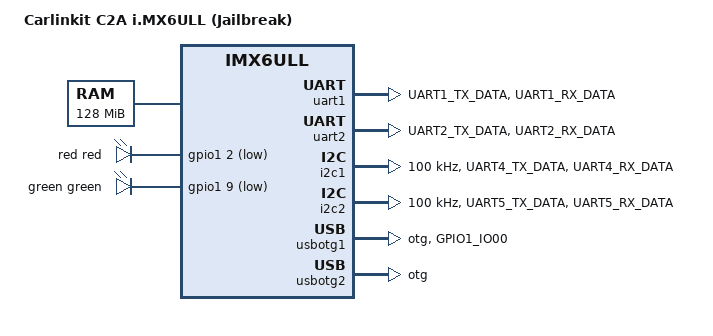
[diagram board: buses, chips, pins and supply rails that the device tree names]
/dts-v1/;

#include "imx6ull.dtsi"
#include "imx6ul-c2a-flash.dtsi"

#include <dt-bindings/leds/common.h>

/ {
	model = "Carlinkit C2A i.MX6ULL (Jailbreak)";
	compatible = "fsl,imx6ull";

	chosen {
		stdout-path = &uart1;
		bootargs = C2A_BOOTARGS;
	};

	memory@80000000 {
		device_type = "memory";
		reg = <0x80000000 0x08000000>; /* 128 MB */
	};

	leds {
		compatible = "gpio-leds";

		red {
			label = "red";
			gpios = <&gpio1 2 GPIO_ACTIVE_LOW>;
			default-state = "on";
			color = <LED_COLOR_ID_RED>;
			linux,default-trigger = "heartbeat";
		};

		green {
			label = "green";
			gpios = <&gpio1 9 GPIO_ACTIVE_LOW>;
			color = <LED_COLOR_ID_GREEN>;
			default-state = "off";
		};
	};	

	rgb {
		compatible = "carlinkit,ws2812b";
		pinctrl-names = "default";
		pinctrl-0 = <&pinctrl_rgb>;
	};

};

&clks {
	assigned-clocks = <&clks IMX6UL_CLK_PLL4_AUDIO_DIV>;
	assigned-clock-rates = <786432000>;
};

&snvs_poweroff {
	status = "okay";
};

&uart1 { /* serial */
	pinctrl-names = "default";
	pinctrl-0 = <&pinctrl_uart1>;
	status = "okay";
};

&uart2 { /* serial */
	pinctrl-names = "default";
	pinctrl-0 = <&pinctrl_uart2>;
	status = "okay";
};

&i2c1 { /* MFI */
	status = "okay";
	pinctrl-names = "default";
	pinctrl-0 = <&pinctrl_i2c1>;
	clock-frequency = <100000>;
};

&i2c2 { /* unused */
	status = "okay";
	pinctrl-names = "default";
	pinctrl-0 = <&pinctrl_i2c2>;
	clock-frequency = <100000>;
};

&usbotg1 { /* USB-A */
	dr_mode = "otg";
	pinctrl-names = "default";
	pinctrl-0 = <&pinctrl_usb_otg1>;
	usb-role-switch;
	role-switch-default-mode = "host";

	srp-disable;
	hnp-disable;
	adp-disable;

	disable-over-current;

	status = "okay";
};

&usbotg2 { /* USB-C */
	dr_mode = "otg";
	usb-role-switch;
	/* role-switch-default-mode = "host"; */

	srp-disable;
	hnp-disable;
	adp-disable;

	disable-over-current;

	status = "okay";
};

&usbphy1 {
	fsl,tx-d-cal = <106>; /* signal strength */
};

&usbphy2 {
	fsl,tx-d-cal = <106>; /* signal strength */
};

&iomuxc {
	pinctrl_rgb: led_data_grp {
		fsl,pins = <
			MX6UL_PAD_GPIO1_IO03__GPIO1_IO03 0x00000010
		>;
	};

	pinctrl_uart1: uart1grp {
		fsl,pins = <
			MX6UL_PAD_UART1_TX_DATA__UART1_DCE_TX 0x1b0b1
			MX6UL_PAD_UART1_RX_DATA__UART1_DCE_RX 0x1b0b1
		>;
	};

	pinctrl_uart2: uart2grp {
		fsl,pins = <
			MX6UL_PAD_UART2_TX_DATA__UART2_DCE_TX  0x1b0b1
			MX6UL_PAD_UART2_RX_DATA__UART2_DCE_RX  0x1b0b1
		>;
	};

	pinctrl_uart3: uart3grp {
		fsl,pins = <
			MX6UL_PAD_UART3_TX_DATA__UART3_DCE_TX  0x1b0b1
			MX6UL_PAD_UART3_RX_DATA__UART3_DCE_RX  0x1b0b1
			MX6UL_PAD_UART3_CTS_B__UART3_DCE_CTS   0x1b0b1
			MX6UL_PAD_UART3_RTS_B__UART3_DCE_RTS   0x1b0b1
		>;
	};

	pinctrl_qspi: qspigrp {
		fsl,pins = <
			MX6UL_PAD_NAND_WP_B__QSPI_A_SCLK        0x70a1
			MX6UL_PAD_NAND_READY_B__QSPI_A_DATA00   0x70a1
			MX6UL_PAD_NAND_CE0_B__QSPI_A_DATA01     0x70a1
			MX6UL_PAD_NAND_CE1_B__QSPI_A_DATA02     0x70a1
			MX6UL_PAD_NAND_CLE__QSPI_A_DATA03       0x70a1
			MX6UL_PAD_NAND_DQS__QSPI_A_SS0_B        0x70a1
		>;
	};

	pinctrl_usb_otg1: usbotg1grp {
		fsl,pins = <
			MX6UL_PAD_GPIO1_IO00__ANATOP_OTG1_ID 0x17059
		>;
	};

	pinctrl_usdhc1: usdhc1grp {
		fsl,pins = <
			MX6UL_PAD_SD1_CMD__USDHC1_CMD        0x17059
			MX6UL_PAD_SD1_CLK__USDHC1_CLK        0x10071
			MX6UL_PAD_SD1_DATA0__USDHC1_DATA0    0x17059
			MX6UL_PAD_SD1_DATA1__USDHC1_DATA1    0x17059
			MX6UL_PAD_SD1_DATA2__USDHC1_DATA2    0x17059
			MX6UL_PAD_SD1_DATA3__USDHC1_DATA3    0x17059
			/*MX6UL_PAD_UART1_RTS_B__GPIO1_IO19    0x17059
			MX6UL_PAD_GPIO1_IO05__USDHC1_VSELECT 0x17059
			MX6UL_PAD_GPIO1_IO09__GPIO1_IO09     0x17059*/
		>;
	};

	pinctrl_usdhc1_100mhz: usdhc1-100mhz-grp {
		fsl,pins = <
			MX6UL_PAD_SD1_CMD__USDHC1_CMD     0x170b9
			MX6UL_PAD_SD1_CLK__USDHC1_CLK     0x100b9
			MX6UL_PAD_SD1_DATA0__USDHC1_DATA0 0x170b9
			MX6UL_PAD_SD1_DATA1__USDHC1_DATA1 0x170b9
			MX6UL_PAD_SD1_DATA2__USDHC1_DATA2 0x170b9
			MX6UL_PAD_SD1_DATA3__USDHC1_DATA3 0x170b9
		>;
	};

	pinctrl_usdhc1_200mhz: usdhc1-200mhz-grp {
		fsl,pins = <
			MX6UL_PAD_SD1_CMD__USDHC1_CMD     0x170f9
			MX6UL_PAD_SD1_CLK__USDHC1_CLK     0x100f9
			MX6UL_PAD_SD1_DATA0__USDHC1_DATA0 0x170f9
			MX6UL_PAD_SD1_DATA1__USDHC1_DATA1 0x170f9
			MX6UL_PAD_SD1_DATA2__USDHC1_DATA2 0x170f9
			MX6UL_PAD_SD1_DATA3__USDHC1_DATA3 0x170f9
		>;
	};

	/*pinctrl_usdhc2: usdhc2grp {
		fsl,pins = <
			MX6UL_PAD_NAND_RE_B__USDHC2_CLK     0x17059
			MX6UL_PAD_NAND_WE_B__USDHC2_CMD     0x17059
			MX6UL_PAD_NAND_DATA00__USDHC2_DATA0 0x17059
			MX6UL_PAD_NAND_DATA01__USDHC2_DATA1 0x17059
			MX6UL_PAD_NAND_DATA02__USDHC2_DATA2 0x17059
			MX6UL_PAD_NAND_DATA03__USDHC2_DATA3 0x17059
		>;
	};*/

	pinctrl_i2c1: i2c1grp {
		fsl,pins = <
			MX6UL_PAD_UART4_TX_DATA__I2C1_SCL 0x4001b8b0
			MX6UL_PAD_UART4_RX_DATA__I2C1_SDA 0x4001b8b0
		>;
	};

	pinctrl_i2c2: i2c2grp {
		fsl,pins = <
			MX6UL_PAD_UART5_TX_DATA__I2C2_SCL 0x4001b8b0
			MX6UL_PAD_UART5_RX_DATA__I2C2_SDA 0x4001b8b0
		>;
	};
};
